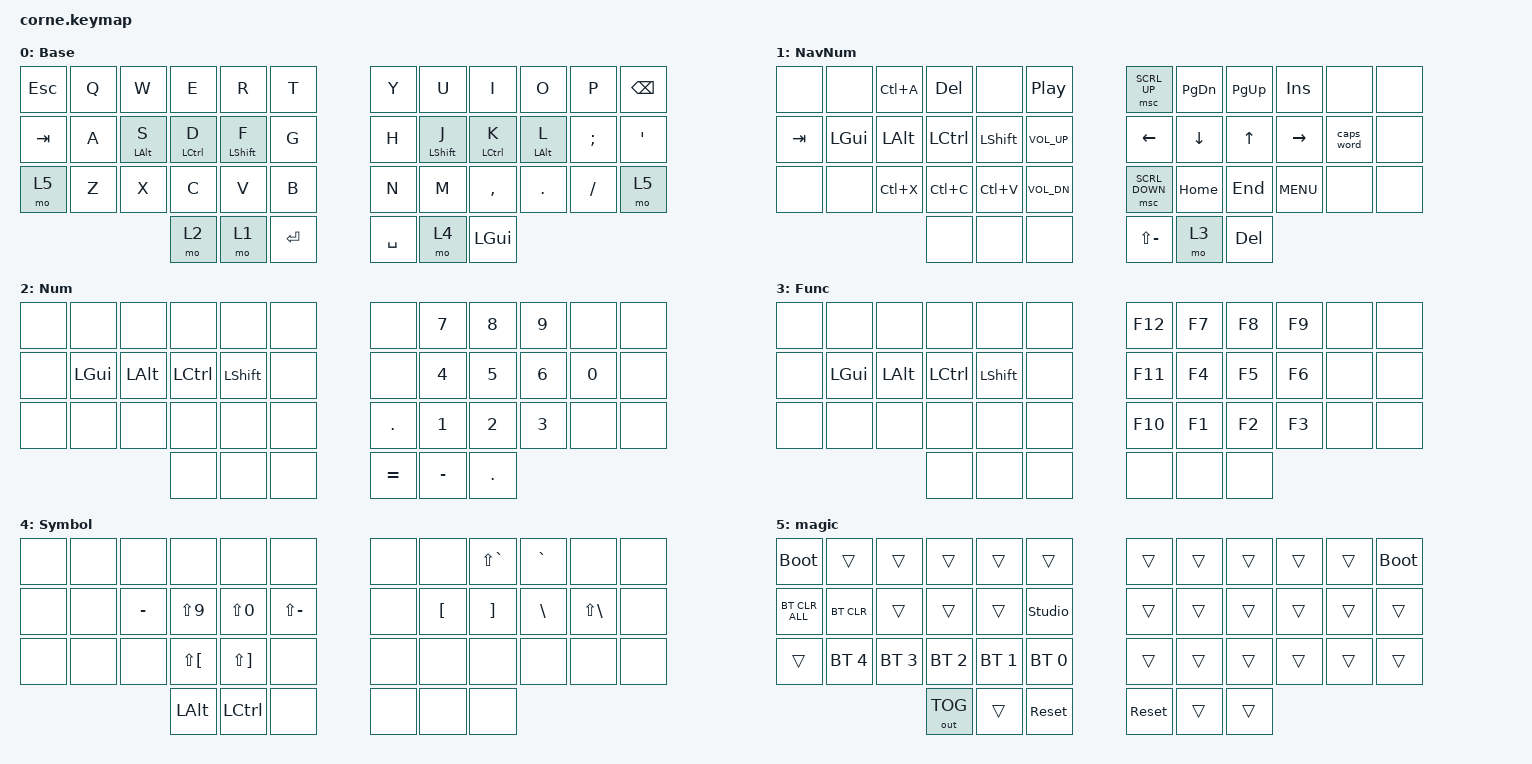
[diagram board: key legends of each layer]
#include <behaviors.dtsi>
#include <dt-bindings/zmk/bt.h>
#include <dt-bindings/zmk/keys.h>
#include <dt-bindings/zmk/outputs.h>
#include <dt-bindings/zmk/pointing.h>

#define DEF 0
#define NAV 1
#define SYM 2
#define ADJ 3
#define EXTRA 4

/ {
    behaviors {
        hm: homerow_mods {
            compatible = "zmk,behavior-hold-tap";
            #binding-cells = <2>;
            tapping-term-ms = <200>;
            flavor = "balanced";
            bindings = <&kp>, <&kp>;

            quick-tap-ms = <180>;
            require-prior-idle-ms = <120>; /* tune to taste */
        };

        para: para {
            compatible = "zmk,behavior-tap-dance";
            #binding-cells = <0>;
            bindings = <&kp LEFT_PARENTHESIS>, <&kp RIGHT_PARENTHESIS>;
        };

        caps: caps {
            compatible = "zmk,behavior-caps-word";
            #binding-cells = <0>;
            continue-list = <MINUS BACKSPACE>;
        };

        paraless: paraless {
            compatible = "zmk,behavior-mod-morph";
            bindings = <&kp LEFT_PARENTHESIS>, <&kp LESS_THAN>;

            #binding-cells = <0>;
            mods = <(MOD_LSFT)>;
        };

        paragreat: paragreat {
            compatible = "zmk,behavior-mod-morph";
            bindings = <&kp RIGHT_PARENTHESIS>, <&kp GREATER_THAN>;

            #binding-cells = <0>;
            mods = <(MOD_LSFT)>;
        };
    };

    macros {
        browsertab: browsertab {
            compatible = "zmk,behavior-macro";
            #binding-cells = <0>;
            bindings =
                <&macro_press>,
                <&kp LCTRL>,
                <&macro_tap>,
                <&kp TAB>,
                <&macro_release>,
                <&kp LCTRL>;
        };
    };

    combos { compatible = "zmk,combos"; };

    //

    keymap {
        compatible = "zmk,keymap";

        DEF {
            display-name = "Base";

            // -----------------------------------------------------------------------------------------
            // |  Q  |  W  |  E  |  R  |  T  |   |  Y  |  U   |  I  |  O  |  P  |
            // |  A  |  S  |  D  |  F  |  G  |   |  H  |  J   |  K  |  L  |  ;  |
            // |  Z  |  X  |  C  |  V  |  B  |   |  N  |  M   |  ,  |  .  |  /  |
            // | GUI | CTRL | SHFT | LWR | SPC |   | ENT | RSE  | BKSP | ALT | ESC |

            bindings = <
&kp ESCAPE  &kp Q  &kp W           &kp E               &kp R             &kp T        &kp Y      &kp U             &kp I               &kp O           &kp P     &kp BACKSPACE
&kp TAB     &kp A  &hm LEFT_ALT S  &hm LEFT_CONTROL D  &hm LEFT_SHIFT F  &kp G        &kp H      &hm LEFT_SHIFT J  &hm LEFT_CONTROL K  &hm LEFT_ALT L  &kp SEMI  &kp SQT
&mo 5       &kp Z  &kp X           &kp C               &kp V             &kp B        &kp N      &kp M             &kp COMMA           &kp DOT         &kp FSLH  &mo 5
                                   &mo 2               &mo 1             &kp ENTER    &kp SPACE  &mo 4             &kp LEFT_GUI
            >;
        };

        NAV {
            display-name = "NavNum";

            // -----------------------------------------------------------------------------------------
            // |  TAB |  1  |  2  |  3  |  4  |  5  |   |  6  |  7  |  8  |  9  |  0  | BKSP |
            // | BTCLR| BT1 | BT2 | BT3 | BT4 | BT5 |   | LFT | DWN |  UP | RGT |     |      |
            // | SHFT |     |     |     |     |     |   |     |     |     |     |     |      |
            // | GUI | CTRL | SHFT | LWR | SPC |   | ENT | RSE  | BKSP | ALT | ESC |

            bindings = <
&none    &none         &kp LC(A)     &kp DELETE  &none           &kp C_PLAY_PAUSE    &msc SCRL_UP    &kp PAGE_DOWN   &kp PG_UP     &kp INSERT  &none       &none
&kp TAB  &kp LEFT_GUI  &kp LEFT_ALT  &kp LCTRL   &kp LEFT_SHIFT  &kp C_VOL_UP        &kp LEFT_ARROW  &kp DOWN_ARROW  &kp UP_ARROW  &kp RIGHT   &caps_word  &none
&none    &none         &kp LC(X)     &kp LC(C)   &kp LC(V)       &kp C_VOL_DN        &msc SCRL_DOWN  &kp HOME        &kp END       &kp K_MENU  &none       &none
                                     &none       &none           &none               &kp LS(MINUS)   &mo 3           &kp DELETE
            >;
        };

        NUM {
            display-name = "Num";

            // -----------------------------------------------------------------------------------------
            // |  TAB |  !  |  @  |  #  |  $  |  %  |   |  ^  |  &  |  *  |  (  |  )  | BKSP |
            // | CTRL |     |     |     |     |     |   |  -  |  =  |  [  |  ]  |  \  |  `   |
            // | SHFT |     |     |     |     |     |   |  _  |  +  |  {  |  }  | "|" |  ~   |
            //                    | GUI |     | SPC |   | ENT |     | ALT |

            bindings = <
&none  &none         &none     &none      &none      &none    &none       &kp N7        &kp N8        &kp N9        &none   &none
&none  &kp LEFT_GUI  &kp LALT  &kp LCTRL  &kp LSHFT  &none    &none       &kp NUMBER_4  &kp N5        &kp NUMBER_6  &kp N0  &none
&none  &none         &none     &none      &none      &none    &kp PERIOD  &kp NUMBER_1  &kp NUMBER_2  &kp NUMBER_3  &none   &none
                               &none      &none      &none    &kp EQUAL   &kp MINUS     &kp DOT
            >;
        };

        FUN {
            display-name = "Func";
            bindings = <
&none  &none     &none     &none      &none      &none    &kp F12  &kp F7  &kp F8  &kp F9  &none  &none
&none  &kp LGUI  &kp LALT  &kp LCTRL  &kp LSHFT  &none    &kp F11  &kp F4  &kp F5  &kp F6  &none  &none
&none  &none     &none     &none      &none      &none    &kp F10  &kp F1  &kp F2  &kp F3  &none  &none
                           &none      &none      &none    &none    &none   &none
            >;
        };

        SYMB {
            display-name = "Symbol";
            bindings = <
&none  &none  &none      &none         &none             &none            &none  &none     &kp LS(GRAVE)  &kp GRAVE      &none              &none
&none  &none  &kp MINUS  &kp LS(N9)    &kp LS(N0)        &kp LS(MINUS)    &none  &kp LBKT  &kp RBKT       &kp BACKSLASH  &kp LS(BACKSLASH)  &none
&none  &none  &none      &kp LS(LBKT)  &kp LS(RBKT)      &none            &none  &none     &none          &none          &none              &none
                         &kp LEFT_ALT  &kp LEFT_CONTROL  &none            &none  &none     &none
            >;
        };

        magic {
            bindings = <
&bootloader     &trans        &trans        &trans        &trans        &trans            &trans      &trans  &trans  &trans  &trans  &bootloader
&bt BT_CLR_ALL  &bt BT_CLR    &trans        &trans        &trans        &studio_unlock    &trans      &trans  &trans  &trans  &trans  &trans
&trans          &bt BT_SEL 4  &bt BT_SEL 3  &bt BT_SEL 2  &bt BT_SEL 1  &bt BT_SEL 0      &trans      &trans  &trans  &trans  &trans  &trans
                                            &out OUT_TOG  &trans        &sys_reset        &sys_reset  &trans  &trans
            >;

            label = "magic";
        };
    };
};
